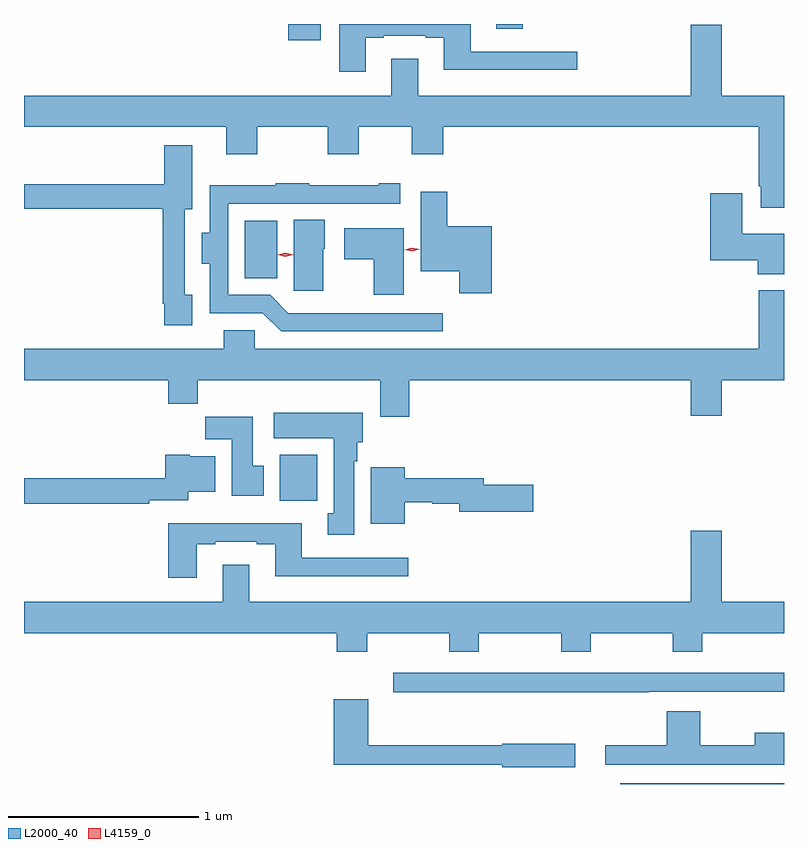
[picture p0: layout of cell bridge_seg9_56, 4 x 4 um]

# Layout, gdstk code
import gdstk
lib = gdstk.Library(unit=1e-6, precision=1e-09)
def R(c, l, rs):  # rectangles x0, y0, x1, y1
    for r in rs: c.add(gdstk.rectangle(r[:2], r[2:], *l))
def P(c, l, *ps):  # polygons
    for p in ps: c.add(gdstk.Polygon(p, *l))
L2000_40 = (2000, 40)
L4159_0 = (4159, 0)

bridge_seg9_56 = lib.new_cell('bridge_seg9_56')
R(bridge_seg9_56, L2000_40, [(1099.701,1182.306,1100.563,1182.309), (1097.909,1183.796,1098.106,1184.038), (1097.726,1184.969,1097.896,1185.271), (1097.954,1186.221,1098.124,1186.306), (1099.049,1186.281,1099.189,1186.306)])
P(bridge_seg9_56, L2000_40, [(1098.361,1186.233),(1098.457,1186.233),(1098.457,1186.245),(1098.677,1186.245),(1098.677,1186.233),(1098.773,1186.233),(1098.773,1186.064),(1099.474,1186.064),(1099.474,1186.161),(1098.913,1186.161),(1098.913,1186.306),(1098.221,1186.306),(1098.221,1186.056),(1098.361,1186.056)],
  [(1100.563,1185.928),(1100.236,1185.928),(1100.236,1186.303),(1100.072,1186.303),(1100.072,1185.928),(1098.637,1185.928),(1098.637,1186.123),(1098.497,1186.123),(1098.497,1185.928),(1096.563,1185.928),(1096.563,1185.764),(1097.627,1185.764),(1097.627,1185.621),(1097.791,1185.621),(1097.791,1185.764),(1098.161,1185.764),(1098.161,1185.621),(1098.325,1185.621),(1098.325,1185.764),(1098.605,1185.764),(1098.605,1185.621),(1098.769,1185.621),(1098.769,1185.764),(1100.429,1185.764),(1100.429,1185.451),(1100.441,1185.451),(1100.441,1185.339),(1100.563,1185.339)],
  [(1097.449,1184.881),(1097.409,1184.881),(1097.409,1185.332),(1097.449,1185.332),(1097.449,1185.667),(1097.3,1185.667),(1097.3,1185.463),(1096.563,1185.463),(1096.563,1185.334),(1097.293,1185.334),(1097.293,1184.833),(1097.301,1184.833),(1097.301,1184.721),(1097.449,1184.721)],
  [(1098.766,1184.784),(1097.955,1184.784),(1097.859,1184.88),(1097.637,1184.88),(1097.637,1185.36),(1098.544,1185.36),(1098.544,1185.469),(1098.431,1185.469),(1098.431,1185.457),(1098.065,1185.457),(1098.065,1185.469),(1097.887,1185.469),(1097.887,1185.457),(1097.541,1185.457),(1097.541,1185.208),(1097.498,1185.208),(1097.498,1185.044),(1097.54,1185.044),(1097.54,1184.784),(1097.82,1184.784),(1097.916,1184.688),(1098.766,1184.688)],
  [(1099.025,1185.241),(1098.791,1185.241),(1098.791,1185.424),(1098.65,1185.424),(1098.65,1185.005),(1098.854,1185.005),(1098.854,1184.889),(1099.025,1184.889)],
  [(1100.563,1185.202),(1100.344,1185.202),(1100.344,1185.415),(1100.174,1185.415),(1100.174,1185.062),(1100.426,1185.062),(1100.426,1184.99),(1100.563,1184.99)],
  [(1098.139,1185.123),(1098.145,1185.123),(1098.145,1185.275),(1097.984,1185.275),(1097.984,1184.901),(1098.139,1184.901)],
  [(1098.562,1185.232),(1098.249,1185.232),(1098.249,1185.068),(1098.404,1185.068),(1098.404,1184.88),(1098.562,1184.88)],
  [(1098.59,1184.432),(1100.072,1184.432),(1100.072,1184.244),(1100.236,1184.244),(1100.236,1184.432),(1100.563,1184.432),(1100.563,1184.905),(1100.429,1184.905),(1100.429,1184.596),(1097.778,1184.596),(1097.778,1184.694),(1097.615,1184.694),(1097.615,1184.596),(1096.563,1184.596),(1096.563,1184.432),(1097.321,1184.432),(1097.321,1184.308),(1097.477,1184.308),(1097.477,1184.432),(1098.437,1184.432),(1098.437,1184.238),(1098.59,1184.238)],
  [(1098.301,1184.006),(1098.316,1184.006),(1098.316,1184.106),(1098.346,1184.106),(1098.346,1184.26),(1097.877,1184.26),(1097.877,1184.126),(1098.194,1184.126),(1098.194,1183.73),(1098.161,1183.73),(1098.161,1183.617),(1098.301,1183.617)],
  [(1097.824,1183.98),(1097.767,1183.98),(1097.767,1184.239),(1097.518,1184.239),(1097.518,1184.12),(1097.657,1184.12),(1097.657,1183.824),(1097.824,1183.824)],
  [(1097.222,1183.8),(1097.428,1183.8),(1097.428,1183.844),(1097.569,1183.844),(1097.569,1184.032),(1097.436,1184.032),(1097.436,1184.038),(1097.306,1184.038),(1097.306,1183.916),(1096.563,1183.916),(1096.563,1183.78),(1097.222,1183.78)],
  [(1098.568,1183.788),(1098.711,1183.788),(1098.711,1183.78),(1098.854,1183.78),(1098.854,1183.738),(1099.243,1183.738),(1099.243,1183.88),(1098.982,1183.88),(1098.982,1183.916),(1098.568,1183.916),(1098.568,1183.972),(1098.389,1183.972),(1098.389,1183.676),(1098.568,1183.676)],
  [(1097.473,1183.569),(1097.569,1183.569),(1097.569,1183.581),(1097.789,1183.581),(1097.789,1183.569),(1097.885,1183.569),(1097.885,1183.4),(1098.586,1183.4),(1098.586,1183.497),(1098.025,1183.497),(1098.025,1183.678),(1097.321,1183.678),(1097.321,1183.392),(1097.473,1183.392)],
  [(1098.369,1183.1),(1098.802,1183.1),(1098.802,1183.001),(1098.957,1183.001),(1098.957,1183.1),(1099.39,1183.1),(1099.39,1183.001),(1099.545,1183.001),(1099.545,1183.1),(1099.978,1183.1),(1099.978,1183.001),(1100.133,1183.001),(1100.133,1183.1),(1100.563,1183.1),(1100.563,1183.264),(1100.236,1183.264),(1100.236,1183.639),(1100.072,1183.639),(1100.072,1183.264),(1097.749,1183.264),(1097.749,1183.459),(1097.609,1183.459),(1097.609,1183.264),(1096.563,1183.264),(1096.563,1183.1),(1098.209,1183.1),(1098.209,1183.001),(1098.369,1183.001)],
  [(1099.85,1182.791),(1100.563,1182.791),(1100.563,1182.892),(1098.507,1182.892),(1098.507,1182.789),(1099.85,1182.789)],
  [(1099.465,1182.517),(1099.08,1182.517),(1099.08,1182.509),(1098.374,1182.509),(1098.374,1182.751),(1098.194,1182.751),(1098.194,1182.408),(1099.08,1182.408),(1099.08,1182.395),(1099.465,1182.395)],
  [(1100.563,1182.577),(1100.408,1182.577),(1100.408,1182.509),(1100.122,1182.509),(1100.122,1182.688),(1099.946,1182.688),(1099.946,1182.509),(1099.623,1182.509),(1099.623,1182.408),(1100.563,1182.408)])
P(bridge_seg9_56, L4159_0, [(1098.606,1185.109),(1098.566,1185.118),(1098.566,1185.118),(1098.566,1185.118),(1098.605,1185.129),(1098.645,1185.121),(1098.645,1185.12),(1098.645,1185.12)],
  [(1097.939,1185.082),(1097.899,1185.091),(1097.899,1185.092),(1097.899,1185.092),(1097.939,1185.102),(1097.98,1185.092),(1097.98,1185.092),(1097.98,1185.091)])

lib.write_gds('bridge_seg9_56.gds')
